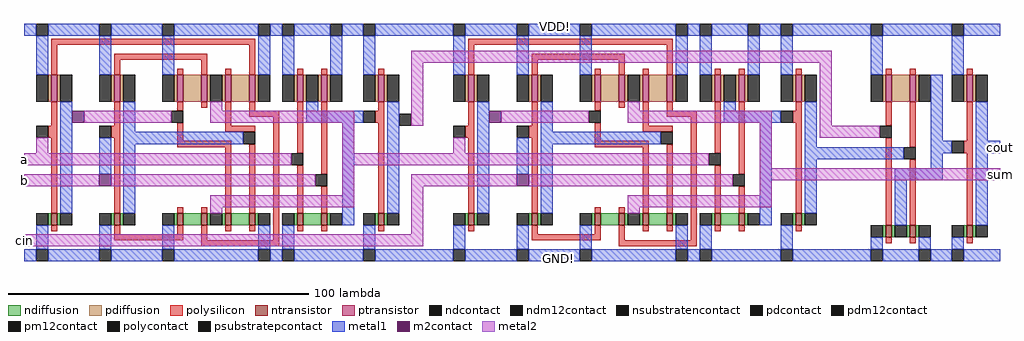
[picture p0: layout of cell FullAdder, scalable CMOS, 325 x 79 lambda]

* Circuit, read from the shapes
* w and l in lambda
.subckt FullAdder GND! VDD! a b cin cout sum
M1 n1 a GND! GND! nfet w=4 l=2
M2 n2 b GND! GND! nfet w=4 l=2
M3 n3 b GND! GND! nfet w=4 l=2
M4 n4 a n3 GND! nfet w=4 l=2
M5 n5 n1 n4 GND! nfet w=4 l=2
M6 GND! n2 n5 GND! nfet w=4 l=2
M7 n6 a GND! GND! nfet w=4 l=2
M8 n7 b n6 GND! nfet w=4 l=2
M9 n8 n7 GND! GND! nfet w=4 l=2
M10 n9 n4 GND! GND! nfet w=4 l=2
M11 n10 cin GND! GND! nfet w=4 l=2
M12 n11 cin GND! GND! nfet w=4 l=2
M13 sum n4 n11 GND! nfet w=4 l=2
M14 n12 n9 sum GND! nfet w=4 l=2
M15 GND! n10 n12 GND! nfet w=4 l=2
M16 n13 n4 GND! GND! nfet w=4 l=2
M17 n14 cin n13 GND! nfet w=4 l=2
M18 n15 n14 GND! GND! nfet w=4 l=2
M19 n16 n8 GND! GND! nfet w=4 l=2
M20 GND! n15 n16 GND! nfet w=4 l=2
M21 cout n16 GND! GND! nfet w=4 l=2
M22 n1 a VDD! VDD! pfet w=9 l=2
M23 n2 b VDD! VDD! pfet w=9 l=2
M24 n17 n1 VDD! VDD! pfet w=9 l=2
M25 n4 b n17 VDD! pfet w=9 l=2
M26 n18 n2 n4 VDD! pfet w=9 l=2
M27 VDD! a n18 VDD! pfet w=9 l=2
M28 n7 a VDD! VDD! pfet w=9 l=2
M29 VDD! b n7 VDD! pfet w=9 l=2
M30 n8 n7 VDD! VDD! pfet w=9 l=2
M31 n9 n4 VDD! VDD! pfet w=9 l=2
M32 n10 cin VDD! VDD! pfet w=9 l=2
M33 n19 n9 VDD! VDD! pfet w=9 l=2
M34 sum cin n19 VDD! pfet w=9 l=2
M35 n20 n10 sum VDD! pfet w=9 l=2
M36 VDD! n4 n20 VDD! pfet w=9 l=2
M37 n14 n4 VDD! VDD! pfet w=9 l=2
M38 VDD! cin n14 VDD! pfet w=9 l=2
M39 n15 n14 VDD! VDD! pfet w=9 l=2
M40 n21 n8 VDD! VDD! pfet w=9 l=2
M41 n16 n15 n21 VDD! pfet w=9 l=2
M42 cout n16 VDD! VDD! pfet w=9 l=2
.ends

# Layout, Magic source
magic
tech scmos
<< ntransistor >>
rect -101 -13 -99 -9
rect -80 -13 -78 -9
rect -59 -13 -57 -9
rect -51 -13 -49 -9
rect -43 -13 -41 -9
rect -35 -13 -33 -9
rect -19 -13 -17 -9
rect -11 -13 -9 -9
rect 8 -13 10 -9
rect 38 -13 40 -9
rect 59 -13 61 -9
rect 80 -13 82 -9
rect 88 -13 90 -9
rect 96 -13 98 -9
rect 104 -13 106 -9
rect 120 -13 122 -9
rect 128 -13 130 -9
rect 147 -13 149 -9
rect 177 -17 179 -13
rect 185 -17 187 -13
rect 204 -17 206 -13
<< ptransistor >>
rect -101 28 -99 37
rect -80 28 -78 37
rect -59 28 -57 37
rect -51 28 -49 37
rect -43 28 -41 37
rect -35 28 -33 37
rect -19 28 -17 37
rect -11 28 -9 37
rect 8 28 10 37
rect 38 28 40 37
rect 59 28 61 37
rect 80 28 82 37
rect 88 28 90 37
rect 96 28 98 37
rect 104 28 106 37
rect 120 28 122 37
rect 128 28 130 37
rect 147 28 149 37
rect 177 28 179 37
rect 185 28 187 37
rect 204 28 206 37
<< ndiffusion >>
rect -102 -13 -101 -9
rect -99 -13 -98 -9
rect -81 -13 -80 -9
rect -78 -13 -77 -9
rect -60 -13 -59 -9
rect -57 -13 -51 -9
rect -49 -13 -48 -9
rect -44 -13 -43 -9
rect -41 -13 -35 -9
rect -33 -13 -32 -9
rect -20 -13 -19 -9
rect -17 -13 -11 -9
rect -9 -13 -8 -9
rect 7 -13 8 -9
rect 10 -13 11 -9
rect 37 -13 38 -9
rect 40 -13 41 -9
rect 58 -13 59 -9
rect 61 -13 62 -9
rect 79 -13 80 -9
rect 82 -13 88 -9
rect 90 -13 91 -9
rect 95 -13 96 -9
rect 98 -13 104 -9
rect 106 -13 107 -9
rect 119 -13 120 -9
rect 122 -13 128 -9
rect 130 -13 131 -9
rect 146 -13 147 -9
rect 149 -13 150 -9
rect 176 -17 177 -13
rect 179 -17 180 -13
rect 184 -17 185 -13
rect 187 -17 188 -13
rect 203 -17 204 -13
rect 206 -17 207 -13
<< pdiffusion >>
rect -102 28 -101 37
rect -99 28 -98 37
rect -81 28 -80 37
rect -78 28 -77 37
rect -60 28 -59 37
rect -57 28 -51 37
rect -49 28 -48 37
rect -44 28 -43 37
rect -41 28 -35 37
rect -33 28 -32 37
rect -20 28 -19 37
rect -17 28 -16 37
rect -12 28 -11 37
rect -9 28 -8 37
rect 7 28 8 37
rect 10 28 11 37
rect 37 28 38 37
rect 40 28 41 37
rect 58 28 59 37
rect 61 28 62 37
rect 79 28 80 37
rect 82 28 88 37
rect 90 28 91 37
rect 95 28 96 37
rect 98 28 104 37
rect 106 28 107 37
rect 119 28 120 37
rect 122 28 123 37
rect 127 28 128 37
rect 130 28 131 37
rect 146 28 147 37
rect 149 28 150 37
rect 176 28 177 37
rect 179 28 185 37
rect 187 28 188 37
rect 203 28 204 37
rect 206 28 207 37
<< ndcontact >>
rect -106 -13 -102 -9
rect -98 -13 -94 -9
rect -85 -13 -81 -9
rect -77 -13 -73 -9
rect -64 -13 -60 -9
rect -32 -13 -28 -9
rect -24 -13 -20 -9
rect -8 -13 -4 -9
rect 3 -13 7 -9
rect 11 -13 15 -9
rect 33 -13 37 -9
rect 41 -13 45 -9
rect 54 -13 58 -9
rect 62 -13 66 -9
rect 75 -13 79 -9
rect 107 -13 111 -9
rect 115 -13 119 -9
rect 131 -13 135 -9
rect 142 -13 146 -9
rect 150 -13 154 -9
rect 172 -17 176 -13
rect 180 -17 184 -13
rect 188 -17 192 -13
rect 199 -17 203 -13
rect 207 -17 211 -13
<< pdcontact >>
rect -106 28 -102 37
rect -98 28 -94 37
rect -85 28 -81 37
rect -77 28 -73 37
rect -64 28 -60 37
rect -32 28 -28 37
rect -24 28 -20 37
rect -16 28 -12 37
rect -8 28 -4 37
rect 3 28 7 37
rect 11 28 15 37
rect 33 28 37 37
rect 41 28 45 37
rect 54 28 58 37
rect 62 28 66 37
rect 75 28 79 37
rect 107 28 111 37
rect 115 28 119 37
rect 123 28 127 37
rect 131 28 135 37
rect 142 28 146 37
rect 150 28 154 37
rect 172 28 176 37
rect 188 28 192 37
rect 199 28 203 37
rect 207 28 211 37
<< psubstratepcontact >>
rect -106 -25 -102 -21
rect -85 -25 -81 -21
rect -64 -25 -60 -21
rect -32 -25 -28 -21
rect -24 -25 -20 -21
rect 3 -25 7 -21
rect 33 -25 37 -21
rect 54 -25 58 -21
rect 75 -25 79 -21
rect 107 -25 111 -21
rect 115 -25 119 -21
rect 142 -25 146 -21
rect 172 -25 176 -21
rect 188 -25 192 -21
rect 199 -25 203 -21
<< nsubstratencontact >>
rect -106 50 -102 54
rect -85 50 -81 54
rect -64 50 -60 54
rect -32 50 -28 54
rect -24 50 -20 54
rect -8 50 -4 54
rect 3 50 7 54
rect 33 50 37 54
rect 54 50 58 54
rect 75 50 79 54
rect 107 50 111 54
rect 115 50 119 54
rect 131 50 135 54
rect 142 50 146 54
rect 172 50 176 54
rect 199 50 203 54
<< polysilicon >>
rect -101 47 -33 49
rect -101 37 -99 47
rect -80 42 -49 44
rect -80 37 -78 42
rect -59 37 -57 39
rect -51 37 -49 42
rect -43 37 -41 39
rect -35 37 -33 47
rect 38 47 106 49
rect -19 37 -17 39
rect -11 37 -9 39
rect 8 37 10 39
rect 38 37 40 47
rect 59 42 90 44
rect 59 37 61 42
rect 80 37 82 39
rect 88 37 90 42
rect 96 37 98 39
rect 104 37 106 47
rect 120 37 122 39
rect 128 37 130 39
rect 147 37 149 39
rect 177 37 179 39
rect 185 37 187 39
rect 204 37 206 39
rect -101 20 -99 28
rect -80 20 -78 28
rect -59 25 -57 28
rect -51 26 -49 28
rect -102 16 -99 20
rect -81 16 -78 20
rect -101 -9 -99 16
rect -80 -9 -78 16
rect -59 15 -57 21
rect -43 20 -41 28
rect -35 25 -33 28
rect -35 23 -25 25
rect -43 18 -33 20
rect -59 13 -41 15
rect -59 -9 -57 -7
rect -51 -9 -49 -7
rect -43 -9 -41 13
rect -35 -9 -33 14
rect -101 -15 -99 -13
rect -80 -16 -78 -13
rect -59 -16 -57 -13
rect -80 -18 -57 -16
rect -51 -18 -49 -13
rect -43 -15 -41 -13
rect -35 -15 -33 -13
rect -27 -18 -25 23
rect -19 11 -17 28
rect -19 -9 -17 7
rect -11 4 -9 28
rect 8 25 10 28
rect 7 21 10 25
rect -11 -9 -9 0
rect 8 -9 10 21
rect 38 20 40 28
rect 59 20 61 28
rect 80 25 82 28
rect 88 26 90 28
rect 37 16 40 20
rect 58 16 61 20
rect 38 -9 40 16
rect 59 -9 61 16
rect 80 15 82 21
rect 96 20 98 28
rect 104 25 106 28
rect 104 23 114 25
rect 96 18 106 20
rect 80 13 98 15
rect 80 -9 82 -7
rect 88 -9 90 -7
rect 96 -9 98 13
rect 104 -9 106 14
rect -19 -15 -17 -13
rect -11 -15 -9 -13
rect 8 -15 10 -13
rect 38 -15 40 -13
rect 59 -16 61 -13
rect 80 -16 82 -13
rect 59 -18 82 -16
rect 88 -18 90 -13
rect 96 -15 98 -13
rect 104 -15 106 -13
rect 112 -18 114 23
rect 120 11 122 28
rect 120 -9 122 7
rect 128 4 130 28
rect 147 25 149 28
rect 146 21 149 25
rect 128 -9 130 0
rect 147 -9 149 21
rect 177 20 179 28
rect 177 -13 179 16
rect 185 13 187 28
rect 204 15 206 28
rect 203 11 206 15
rect 185 -13 187 9
rect 204 -13 206 11
rect 120 -15 122 -13
rect 128 -15 130 -13
rect 147 -15 149 -13
rect -51 -20 -25 -18
rect 88 -20 114 -18
rect 177 -19 179 -17
rect 185 -19 187 -17
rect 204 -19 206 -17
<< polycontact >>
rect -85 16 -81 20
rect -37 14 -33 18
rect 3 21 7 25
rect 54 16 58 20
rect 102 14 106 18
rect 142 21 146 25
rect 183 9 187 13
rect 199 11 203 15
<< metal1 >>
rect -110 50 -106 54
rect -102 50 -85 54
rect -81 50 -64 54
rect -60 50 -32 54
rect -28 50 -24 54
rect -20 50 -8 54
rect -4 50 3 54
rect 7 50 33 54
rect 37 50 54 54
rect 58 50 75 54
rect 79 50 107 54
rect 111 50 115 54
rect 119 50 131 54
rect 135 50 142 54
rect 146 50 172 54
rect 176 50 199 54
rect 203 50 215 54
rect -106 37 -102 50
rect -85 37 -81 50
rect -64 37 -60 50
rect -32 37 -28 50
rect -24 37 -20 50
rect -8 37 -4 50
rect 3 37 7 50
rect 33 37 37 50
rect 54 37 58 50
rect 75 37 79 50
rect 107 37 111 50
rect 115 37 119 50
rect 131 37 135 50
rect 142 37 146 50
rect 172 37 176 50
rect 199 37 203 50
rect -98 -9 -94 28
rect -85 4 -81 16
rect -77 18 -73 28
rect -16 25 -12 28
rect -16 21 3 25
rect -77 14 -37 18
rect -77 -9 -73 14
rect -106 -21 -102 -13
rect -85 -21 -81 -13
rect -64 -21 -60 -13
rect -32 -21 -28 -13
rect -4 -13 0 21
rect 11 -9 15 28
rect 41 -9 45 28
rect 54 4 58 16
rect 62 18 66 28
rect 123 25 127 28
rect 123 21 142 25
rect 62 14 102 18
rect 62 -9 66 14
rect -24 -21 -20 -13
rect 3 -21 7 -13
rect 33 -21 37 -13
rect 54 -21 58 -13
rect 75 -21 79 -13
rect 107 -21 111 -13
rect 135 -13 139 21
rect 150 13 154 28
rect 192 15 196 37
rect 207 15 211 28
rect 150 9 183 13
rect 192 11 199 15
rect 207 11 215 15
rect 150 -9 154 9
rect 192 6 196 11
rect 180 2 196 6
rect 180 -13 184 2
rect 207 -13 211 11
rect 115 -21 119 -13
rect 142 -21 146 -13
rect 172 -21 176 -17
rect 188 -21 192 -17
rect 199 -21 203 -17
rect -110 -25 -106 -21
rect -102 -25 -85 -21
rect -81 -25 -64 -21
rect -60 -25 -32 -21
rect -28 -25 -24 -21
rect -20 -25 3 -21
rect 7 -25 33 -21
rect 37 -25 54 -21
rect 58 -25 75 -21
rect 79 -25 107 -21
rect 111 -25 115 -21
rect 119 -25 142 -21
rect 146 -25 172 -21
rect 176 -25 188 -21
rect 192 -25 199 -21
rect 203 -25 215 -21
<< m2contact >>
rect -94 21 -90 25
rect -85 0 -81 4
rect 45 21 49 25
rect 54 0 58 4
<< pm12contact >>
rect -106 16 -102 20
rect -61 21 -57 25
rect -21 7 -17 11
rect -13 0 -9 4
rect 15 20 19 24
rect 33 16 37 20
rect 78 21 82 25
rect 118 7 122 11
rect 126 0 130 4
rect 175 16 179 20
<< pdm12contact >>
rect -48 28 -44 37
rect 91 28 95 37
<< ndm12contact >>
rect -48 -13 -44 -9
rect 91 -13 95 -9
<< metal2 >>
rect 19 41 159 45
rect -48 25 -44 28
rect -90 21 -61 25
rect -48 21 0 25
rect -106 11 -102 16
rect -4 11 0 21
rect 19 20 23 41
rect 91 25 95 28
rect 49 21 78 25
rect 91 21 139 25
rect 33 11 37 16
rect -110 7 -21 11
rect -4 7 118 11
rect -110 0 -85 4
rect -81 0 -13 4
rect -4 -3 0 7
rect 135 6 139 21
rect 155 20 159 41
rect 155 16 175 20
rect -48 -7 0 -3
rect 19 0 54 4
rect 58 0 126 4
rect 135 2 215 6
rect -48 -9 -44 -7
rect 19 -16 23 0
rect 135 -3 139 2
rect 91 -7 139 -3
rect 91 -9 95 -7
rect -110 -20 23 -16
<< labels >>
rlabel metal2 -110 0 -110 4 3 b
rlabel metal2 -110 7 -110 11 3 a
rlabel metal2 215 2 215 6 7 sum
rlabel metal2 -110 -20 -110 -16 3 cin
rlabel metal1 67 53 67 53 5 VDD!
rlabel metal1 68 -24 68 -24 1 GND!
rlabel metal1 215 11 215 15 7 cout
<< end >>
